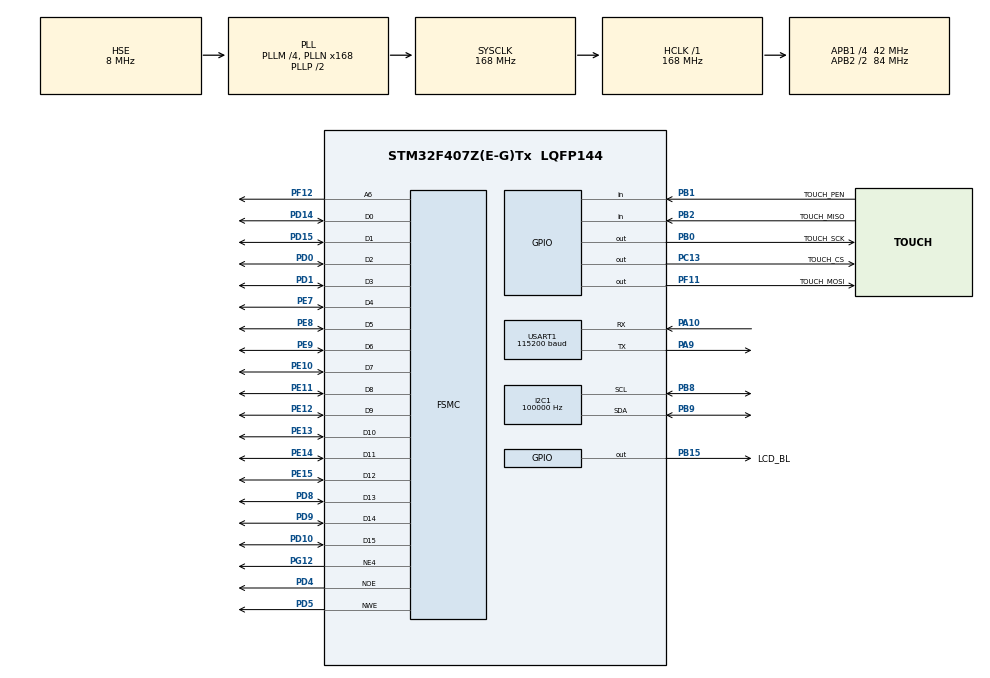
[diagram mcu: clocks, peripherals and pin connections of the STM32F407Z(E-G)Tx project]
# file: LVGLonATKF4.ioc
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FSMC.AccessMode1=FSMC_ACCESS_MODE_A
FSMC.AddressSetupTime1=15
FSMC.BusTurnAroundDuration1=0
FSMC.DataSetupTime1=60
FSMC.ExtendedAccessMode1=FSMC_ACCESS_MODE_A
FSMC.ExtendedAddressSetupTime1=9
FSMC.ExtendedBusTurnAroundDuration1=0
FSMC.ExtendedDataSetupTime1=8
FSMC.ExtendedMode1=FSMC_EXTENDED_MODE_ENABLE
FSMC.MemoryType1=FSMC_MEMORY_TYPE_SRAM
FSMC.NSBank1=FSMC_NORSRAM_BANK4
FSMC.WriteOperation1=FSMC_WRITE_OPERATION_ENABLE
I2C1.AddressingMode=I2C_ADDRESSINGMODE_7BIT
I2C1.ClockSpeed=100000
I2C1.DualAddressMode=I2C_DUALADDRESS_DISABLE
I2C1.GeneralCallMode=I2C_GENERALCALL_DISABLE
I2C1.I2C_Mode=I2C_Standard
I2C1.NoStretchMode=I2C_NOSTRETCH_DISABLE
I2C1.OwnAddress=0
Mcu.Family=STM32F4
Mcu.Name=STM32F407Z(E-G)Tx
Mcu.Package=LQFP144
NVIC.PriorityGroup=NVIC_PRIORITYGROUP_4
PA10.Mode=Asynchronous
PA10.Signal=USART1_RX
PA13.Mode=Serial_Wire
PA13.Signal=SYS_JTMS-SWDIO
PA14.Mode=Serial_Wire
PA14.Signal=SYS_JTCK-SWCLK
PA9.Mode=Asynchronous
PA9.Signal=USART1_TX
PB0.GPIO_Label=TOUCH_SCK
PB0.Signal=GPIO_Output
PB1.GPIO_Label=TOUCH_PEN
PB1.Signal=GPIO_Input
PB15.GPIO_Label=LCD_BL
PB15.Signal=GPIO_Output
PB2.GPIO_Label=TOUCH_MISO
PB2.Signal=GPIO_Input
PB8.Mode=I2C
PB8.Signal=I2C1_SCL
PB9.Mode=I2C
PB9.Signal=I2C1_SDA
PC13-ANTI_TAMP.GPIO_Label=TOUCH_CS
PC13-ANTI_TAMP.Signal=GPIO_Output
PD0.Signal=FSMC_D2_DA2
PD1.Signal=FSMC_D3_DA3
PD10.Signal=FSMC_D15_DA15
PD14.Signal=FSMC_D0_DA0
PD15.Signal=FSMC_D1_DA1
PD4.Signal=FSMC_NOE
PD5.Signal=FSMC_NWE
PD8.Signal=FSMC_D13_DA13
PD9.Signal=FSMC_D14_DA14
PE10.Signal=FSMC_D7_DA7
PE11.Signal=FSMC_D8_DA8
PE12.Signal=FSMC_D9_DA9
PE13.Signal=FSMC_D10_DA10
PE14.Signal=FSMC_D11_DA11
PE15.Signal=FSMC_D12_DA12
PE7.Signal=FSMC_D4_DA4
PE8.Signal=FSMC_D5_DA5
PE9.Signal=FSMC_D6_DA6
PF11.GPIO_Label=TOUCH_MOSI
PF11.Signal=GPIO_Output
PF12.Signal=FSMC_A6
PG12.Mode=NorPsramChipSelect4_1
PG12.Signal=FSMC_NE4
PH0-OSC_IN.Mode=HSE-External-Oscillator
PH0-OSC_IN.Signal=RCC_OSC_IN
PH1-OSC_OUT.Mode=HSE-External-Oscillator
PH1-OSC_OUT.Signal=RCC_OSC_OUT
ProjectManager.HeapSize=0x200
ProjectManager.StackSize=0x400
ProjectManager.TargetToolchain=SW4STM32
RCC.48MHZClocksFreq_Value=84000000
RCC.AHBFreq_Value=168000000
RCC.APB1CLKDivider=RCC_HCLK_DIV4
RCC.APB1Freq_Value=42000000
RCC.APB1TimFreq_Value=84000000
RCC.APB2CLKDivider=RCC_HCLK_DIV2
RCC.APB2Freq_Value=84000000
RCC.APB2TimFreq_Value=168000000
RCC.CortexFreq_Value=168000000
RCC.FLatency=FLASH_LATENCY_5
RCC.HCLKFreq_Value=168000000
RCC.HSE_VALUE=8000000
RCC.HSI_VALUE=16000000
RCC.LSE_VALUE=32768
RCC.PLLM=4
RCC.PLLN=168
RCC.PLLSourceVirtual=RCC_PLLSOURCE_HSE
RCC.SYSCLKFreq_VALUE=168000000
RCC.SYSCLKSource=RCC_SYSCLKSOURCE_PLLCLK
RCC.VCOOutputFreq_Value=336000000
SH.FSMC_A6.0=FSMC_A6,A6_1
SH.FSMC_D0_DA0.0=FSMC_D0,16b-d1
SH.FSMC_D10_DA10.0=FSMC_D10,16b-d1
SH.FSMC_D11_DA11.0=FSMC_D11,16b-d1
SH.FSMC_D12_DA12.0=FSMC_D12,16b-d1
SH.FSMC_D13_DA13.0=FSMC_D13,16b-d1
SH.FSMC_D14_DA14.0=FSMC_D14,16b-d1
SH.FSMC_D15_DA15.0=FSMC_D15,16b-d1
SH.FSMC_D1_DA1.0=FSMC_D1,16b-d1
SH.FSMC_D2_DA2.0=FSMC_D2,16b-d1
SH.FSMC_D3_DA3.0=FSMC_D3,16b-d1
SH.FSMC_D4_DA4.0=FSMC_D4,16b-d1
SH.FSMC_D5_DA5.0=FSMC_D5,16b-d1
SH.FSMC_D6_DA6.0=FSMC_D6,16b-d1
SH.FSMC_D7_DA7.0=FSMC_D7,16b-d1
SH.FSMC_D8_DA8.0=FSMC_D8,16b-d1
SH.FSMC_D9_DA9.0=FSMC_D9,16b-d1
SH.FSMC_NOE.0=FSMC_NOE,Lcd1
SH.FSMC_NWE.0=FSMC_NWE,Lcd1
USART1.BaudRate=115200
USART1.Mode=MODE_TX_RX
USART1.OverSampling=UART_OVERSAMPLING_16
USART1.Parity=PARITY_NONE
USART1.StopBits=STOPBITS_1
USART1.VirtualMode=VM_ASYNC
USART1.WordLength=WORDLENGTH_8B
board=custom

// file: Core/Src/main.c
/* USER CODE BEGIN Header */
/**
  ******************************************************************************
  * @file           : main.c
  * @brief          : Main program body
  ******************************************************************************
  * @attention
  *
  * <h2><center>&copy; Copyright (c) 2021 STMicroelectronics.
  * All rights reserved.</center></h2>
  *
  * This software component is licensed by ST under BSD 3-Clause license,
  * the "License"; You may not use this file except in compliance with the
  * License. You may obtain a copy of the License at:
  *                        opensource.org/licenses/BSD-3-Clause
  *
  ******************************************************************************
  */
/* USER CODE END Header */

#include "main.h"
#include "i2c.h"
#include "usart.h"
#include "gpio.h"
#include "fsmc.h"

/* USER CODE BEGIN Includes */
#include "lcd.h"
#include "touch.h"
#include "lvgl.h"
#include "lvgl/porting/lv_port_disp.h"
#include "lvgl/porting/lv_port_indev.h"
#include <gui_guider.h>
#include <events_init.h>
/* USER CODE END Includes */

/* USER CODE BEGIN PTD */
extern const uint8_t touxiang_map[];
/* USER CODE END PTD */

/* USER CODE BEGIN PV */
lv_ui guider_ui;
/* USER CODE END PV */

void SystemClock_Config(void);

int main(void) {

    /* MCU Configuration--------------------------------------------------------*/

    /* Reset of all peripherals, Initializes the Flash interface and the Systick. */
    HAL_Init();

    /* Configure the system clock */
    SystemClock_Config();

    /* Initialize all configured peripherals */
    MX_GPIO_Init();
    MX_FSMC_Init();
    MX_USART1_UART_Init();
    MX_I2C1_Init();
    /* USER CODE BEGIN 2 */
//    LCD_Init();
//    TP_Init();
//    LCD_ShowImage(10,10,130,130,touxiang_map);
//    uint16_t x;
//    uint16_t y;
    lv_init();
    lv_port_disp_init();
    lv_port_indev_init();
    setup_ui(&guider_ui);
    events_init(&guider_ui);
    /* USER CODE END 2 */

    /* Infinite loop */
    /* USER CODE BEGIN WHILE */
    while (1) {
//        x = pos.x;
//        y = pos.y;
//        TP_Scan(0);
//        if ((x != pos.x) || (y != pos.y)) {
//            LCD_DrawPoint(x, y);
//        }
        lv_tick_inc(5);
        lv_task_handler();
        HAL_Delay(5);
        /* USER CODE END WHILE */

    }
}

void SystemClock_Config(void) {
    RCC_OscInitTypeDef RCC_OscInitStruct = {0};
    RCC_ClkInitTypeDef RCC_ClkInitStruct = {0};

    /** Configure the main internal regulator output voltage
    */
    __HAL_RCC_PWR_CLK_ENABLE();
    __HAL_PWR_VOLTAGESCALING_CONFIG(PWR_REGULATOR_VOLTAGE_SCALE1);
    /** Initializes the RCC Oscillators according to the specified parameters
    * in the RCC_OscInitTypeDef structure.
    */
    RCC_OscInitStruct.OscillatorType = RCC_OSCILLATORTYPE_HSE;
    RCC_OscInitStruct.HSEState = RCC_HSE_ON;
    RCC_OscInitStruct.PLL.PLLState = RCC_PLL_ON;
    RCC_OscInitStruct.PLL.PLLSource = RCC_PLLSOURCE_HSE;
    RCC_OscInitStruct.PLL.PLLM = 4;
    RCC_OscInitStruct.PLL.PLLN = 168;
    RCC_OscInitStruct.PLL.PLLP = RCC_PLLP_DIV2;
    RCC_OscInitStruct.PLL.PLLQ = 4;
    if (HAL_RCC_OscConfig(&RCC_OscInitStruct) != HAL_OK) {
        Error_Handler();
    }
    /** Initializes the CPU, AHB and APB buses clocks
    */
    RCC_ClkInitStruct.ClockType = RCC_CLOCKTYPE_HCLK | RCC_CLOCKTYPE_SYSCLK
                                  | RCC_CLOCKTYPE_PCLK1 | RCC_CLOCKTYPE_PCLK2;
    RCC_ClkInitStruct.SYSCLKSource = RCC_SYSCLKSOURCE_PLLCLK;
    RCC_ClkInitStruct.AHBCLKDivider = RCC_SYSCLK_DIV1;
    RCC_ClkInitStruct.APB1CLKDivider = RCC_HCLK_DIV4;
    RCC_ClkInitStruct.APB2CLKDivider = RCC_HCLK_DIV2;

    if (HAL_RCC_ClockConfig(&RCC_ClkInitStruct, FLASH_LATENCY_5) != HAL_OK) {
        Error_Handler();
    }
}

void Error_Handler(void) {
    __disable_irq();
    while (1) {
    }
}

/************************ (C) COPYRIGHT STMicroelectronics *****END OF FILE****/
